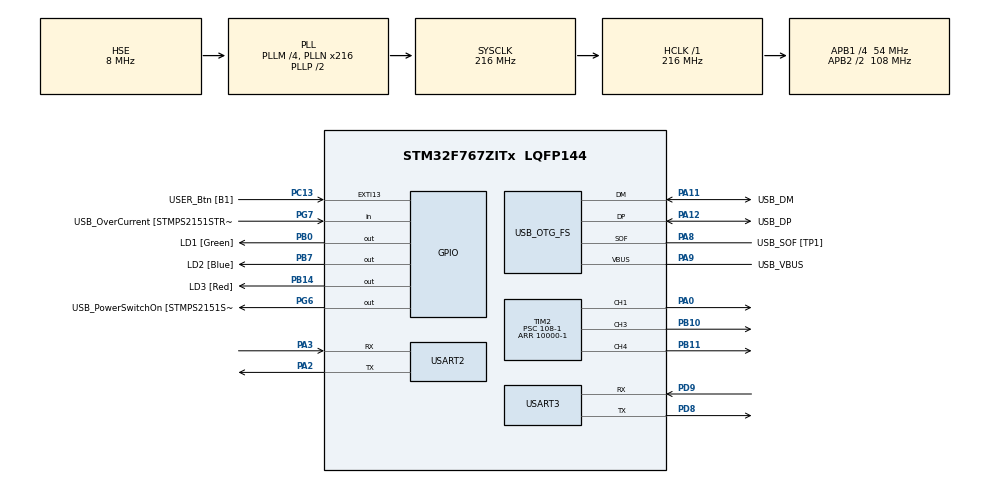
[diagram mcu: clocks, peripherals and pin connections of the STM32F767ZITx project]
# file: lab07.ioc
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Mcu.Family=STM32F7
Mcu.Name=STM32F767ZITx
Mcu.Package=LQFP144
NVIC.PriorityGroup=NVIC_PRIORITYGROUP_2
PA0/WKUP.GPIO_Speed=GPIO_SPEED_FREQ_VERY_HIGH
PA0/WKUP.Signal=S_TIM2_CH1_ETR
PA1.GPIO_Label=RMII_REF_CLK [LAN8742A-CZ-TR_REFCLK0]
PA1.Signal=ETH_REF_CLK
PA10.GPIO_Label=USB_ID
PA10.Signal=USB_OTG_FS_ID
PA11.GPIO_Label=USB_DM
PA11.Mode=Device_Only
PA11.Signal=USB_OTG_FS_DM
PA12.GPIO_Label=USB_DP
PA12.Mode=Device_Only
PA12.Signal=USB_OTG_FS_DP
PA13.GPIO_Label=TMS
PA13.Mode=Serial_Wire
PA13.Signal=SYS_JTMS-SWDIO
PA14.GPIO_Label=TCK
PA14.Mode=Serial_Wire
PA14.Signal=SYS_JTCK-SWCLK
PA2.Mode=Asynchronous
PA2.Signal=USART2_TX
PA3.Mode=Asynchronous
PA3.Signal=USART2_RX
PA7.GPIO_Label=RMII_CRS_DV [LAN8742A-CZ-TR_CRS_DV]
PA7.Signal=ETH_CRS_DV
PA8.GPIO_Label=USB_SOF [TP1]
PA8.Mode=Activate_SOF_FS
PA8.Signal=USB_OTG_FS_SOF
PA9.GPIO_Label=USB_VBUS
PA9.Mode=Activate_VBUS
PA9.Signal=USB_OTG_FS_VBUS
PB0.GPIO_Label=LD1 [Green]
PB0.Signal=GPIO_Output
PB10.GPIO_Speed=GPIO_SPEED_FREQ_VERY_HIGH
PB10.Signal=S_TIM2_CH3
PB11.GPIO_Speed=GPIO_SPEED_FREQ_VERY_HIGH
PB11.Signal=S_TIM2_CH4
PB13.GPIO_Label=RMII_TXD1 [LAN8742A-CZ-TR_TXD1]
PB13.Signal=ETH_TXD1
PB14.GPIO_Label=LD3 [Red]
PB14.Signal=GPIO_Output
PB3.GPIO_Label=SWO
PB3.Signal=SYS_JTDO-SWO
PB7.GPIO_Label=LD2 [Blue]
PB7.Signal=GPIO_Output
PC1.GPIO_Label=RMII_MDC [LAN8742A-CZ-TR_MDC]
PC1.Signal=ETH_MDC
PC13.GPIO_Label=USER_Btn [B1]
PC13.Signal=GPXTI13
PC14/OSC32_IN.Mode=LSE-External-Oscillator
PC14/OSC32_IN.Signal=RCC_OSC32_IN
PC15/OSC32_OUT.Mode=LSE-External-Oscillator
PC15/OSC32_OUT.Signal=RCC_OSC32_OUT
PC4.GPIO_Label=RMII_RXD0 [LAN8742A-CZ-TR_RXD0]
PC4.Signal=ETH_RXD0
PC5.GPIO_Label=RMII_RXD1 [LAN8742A-CZ-TR_RXD1]
PC5.Signal=ETH_RXD1
PD8.Mode=Asynchronous
PD8.Signal=USART3_TX
PD9.Mode=Asynchronous
PD9.Signal=USART3_RX
PG11.GPIO_Label=RMII_TX_EN [LAN8742A-CZ-TR_TXEN]
PG11.Signal=ETH_TX_EN
PG13.GPIO_Label=RMII_TXD0 [LAN8742A-CZ-TR_TXD0]
PG13.Signal=ETH_TXD0
PG6.GPIO_Label=USB_PowerSwitchOn [STMPS2151STR_EN]
PG6.Signal=GPIO_Output
PG7.GPIO_Label=USB_OverCurrent [STMPS2151STR_FAULT]
PG7.Signal=GPIO_Input
PH0/OSC_IN.GPIO_Label=MCO [STM32F103CBT6_PA8]
PH0/OSC_IN.Mode=HSE-External-Clock-Source
PH0/OSC_IN.Signal=RCC_OSC_IN
PH1/OSC_OUT.Mode=HSE-External-Clock-Source
PH1/OSC_OUT.Signal=RCC_OSC_OUT
ProjectManager.HeapSize=0x200
ProjectManager.StackSize=0x400
ProjectManager.TargetToolchain=STM32CubeIDE
RCC.48MHZClocksFreq_Value=24000000
RCC.AHBFreq_Value=216000000
RCC.APB1CLKDivider=RCC_HCLK_DIV4
RCC.APB1Freq_Value=54000000
RCC.APB1TimFreq_Value=108000000
RCC.APB2CLKDivider=RCC_HCLK_DIV2
RCC.APB2Freq_Value=108000000
RCC.APB2TimFreq_Value=216000000
RCC.CortexFreq_Value=216000000
RCC.HCLKFreq_Value=216000000
RCC.HSE_VALUE=8000000
RCC.HSI_VALUE=16000000
RCC.PLLM=4
RCC.PLLMUL=RCC_PLL_MUL9
RCC.PLLN=216
RCC.PLLQ=9
RCC.PRESCALERUSB=RCC_USBCLKSOURCE_PLL_DIV1_5
RCC.SYSCLKFreq_VALUE=216000000
RCC.SYSCLKSource=RCC_SYSCLKSOURCE_PLLCLK
RCC.SYSCLKSourceVirtual=RCC_SYSCLKSOURCE_PLLCLK
RCC.USBFreq_Value=48000000
RCC.VCOOutputFreq_Value=432000000
SH.S_TIM2_CH1_ETR.0=TIM2_CH1,PWM Generation1 CH1
SH.S_TIM2_CH3.0=TIM2_CH3,PWM Generation3 CH3
SH.S_TIM2_CH4.0=TIM2_CH4,PWM Generation4 CH4
TIM2.Channel-PWM\ Generation1\ CH1=TIM_CHANNEL_1
TIM2.Channel-PWM\ Generation3\ CH3=TIM_CHANNEL_3
TIM2.Channel-PWM\ Generation4\ CH4=TIM_CHANNEL_4
TIM2.OCMode_PWM-PWM\ Generation1\ CH1=TIM_OCMODE_PWM1
TIM2.OCMode_PWM-PWM\ Generation3\ CH3=TIM_OCMODE_PWM1
TIM2.OCMode_PWM-PWM\ Generation4\ CH4=TIM_OCMODE_PWM1
TIM2.Period=10000-1
TIM2.Prescaler=108-1
TIM2.Pulse-PWM\ Generation1\ CH1=10000/4-1
TIM2.Pulse-PWM\ Generation3\ CH3=10000/4-1
TIM2.Pulse-PWM\ Generation4\ CH4=10000/4-1
TIM2.TIM_MasterOutputTrigger=TIM_TRGO_UPDATE
USART2.VirtualMode-Asynchronous=VM_ASYNC
USART3.VirtualMode-Asynchronous=VM_ASYNC
USB_OTG_FS.VirtualMode=Device_Only
VP_TIM2_VS_ClockSourceINT.Mode=Internal
board=NUCLEO-F767ZI

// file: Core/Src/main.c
/* USER CODE BEGIN Header */
/**
  ******************************************************************************
  * @file           : main.c
  * @brief          : Main program body
  ******************************************************************************
  * @attention
  *
  * Copyright (c) 2025 STMicroelectronics.
  * All rights reserved.
  *
  * This software is licensed under terms that can be found in the LICENSE file
  * in the root directory of this software component.
  * If no LICENSE file comes with this software, it is provided AS-IS.
  *
  ******************************************************************************
  */
/* USER CODE END Header */
#include "main.h"
#include "tim.h"
#include "usart.h"
#include "usb_otg.h"
#include "gpio.h"

/* USER CODE BEGIN Includes */
#include <stdio.h>
/* USER CODE END Includes */

/* USER CODE BEGIN PV */
uint8_t pwm_green;
uint8_t pwm_blue;
uint8_t pwm_red;
float green = 0.0f;
float blue = 0.0f;
float red = 0.0f;
/* USER CODE END PV */

void SystemClock_Config(void);

/* USER CODE BEGIN 0 */
void sender()
{
	while(__HAL_UART_GET_FLAG(&huart3, UART_FLAG_TC) == RESET){}
	    char message[50];
	    uint8_t len = sprintf(message, "\rR: %.0f%% G: %.0f%% B: %.0f%%          ",
	                          red * 100.0f, green * 100.0f, blue * 100.0f);
	    HAL_UART_Transmit(&huart3, (uint8_t*)message, len, HAL_MAX_DELAY);
}
void recieve()
{
    uint8_t rx;
    if(__HAL_UART_GET_FLAG(&huart3, UART_FLAG_RXNE) == SET)
    {
        HAL_UART_Receive(&huart3, &rx, 1, HAL_MAX_DELAY);

        if(rx == 'r')
        {
            red += 0.2f;
            if(red > 1.0f) red = 0.0f;
        }
        else if(rx == 'g')
        {
            green += 0.2f;
            if(green > 1.0f) green = 0.0f;
        }
        else if(rx == 'b')
        {
            blue += 0.2f;
            if(blue > 1.0f) blue = 0.0f;
        }

        sender();
    }
}
/* USER CODE END 0 */

int main(void)
{

  /* MCU Configuration--------------------------------------------------------*/

  /* Reset of all peripherals, Initializes the Flash interface and the Systick. */
  HAL_Init();

  /* Configure the system clock */
  SystemClock_Config();

  /* Initialize all configured peripherals */
  MX_GPIO_Init();
  MX_USART3_UART_Init();
  MX_USB_OTG_FS_PCD_Init();
  MX_TIM2_Init();
  MX_USART2_UART_Init();
  /* USER CODE BEGIN 2 */
  HAL_TIM_PWM_Start(&htim2, TIM_CHANNEL_1);
  HAL_TIM_PWM_Start(&htim2, TIM_CHANNEL_3);
  HAL_TIM_PWM_Start(&htim2, TIM_CHANNEL_4);
  /* USER CODE END 2 */
  sender();
  /* Infinite loop */
  while (1)
  {

    /* USER CODE BEGIN 3 */
	  recieve();
	  htim2.Instance -> CCR1 = (10000-1) * red;
	  htim2.Instance -> CCR3 = (10000-1) * blue;
	  htim2.Instance -> CCR4 = (10000-1) * green;
	  pwm_red = (GPIOA->IDR & GPIO_PIN_0) >> 0;
	  pwm_blue = (GPIOB->IDR & GPIO_PIN_10) >> 10;
	  pwm_green = (GPIOB->IDR & GPIO_PIN_11) >> 11;
	  HAL_Delay(100);
  }
  /* USER CODE END 3 */
}

void SystemClock_Config(void)
{
  RCC_OscInitTypeDef RCC_OscInitStruct = {0};
  RCC_ClkInitTypeDef RCC_ClkInitStruct = {0};

  /** Configure LSE Drive Capability
  */
  HAL_PWR_EnableBkUpAccess();

  /** Configure the main internal regulator output voltage
  */
  __HAL_RCC_PWR_CLK_ENABLE();
  __HAL_PWR_VOLTAGESCALING_CONFIG(PWR_REGULATOR_VOLTAGE_SCALE1);

  /** Initializes the RCC Oscillators according to the specified parameters
  * in the RCC_OscInitTypeDef structure.
  */
  RCC_OscInitStruct.OscillatorType = RCC_OSCILLATORTYPE_HSE;
  RCC_OscInitStruct.HSEState = RCC_HSE_BYPASS;
  RCC_OscInitStruct.PLL.PLLState = RCC_PLL_ON;
  RCC_OscInitStruct.PLL.PLLSource = RCC_PLLSOURCE_HSE;
  RCC_OscInitStruct.PLL.PLLM = 4;
  RCC_OscInitStruct.PLL.PLLN = 216;
  RCC_OscInitStruct.PLL.PLLP = RCC_PLLP_DIV2;
  RCC_OscInitStruct.PLL.PLLQ = 9;
  RCC_OscInitStruct.PLL.PLLR = 2;
  if (HAL_RCC_OscConfig(&RCC_OscInitStruct) != HAL_OK)
  {
    Error_Handler();
  }

  /** Activate the Over-Drive mode
  */
  if (HAL_PWREx_EnableOverDrive() != HAL_OK)
  {
    Error_Handler();
  }

  /** Initializes the CPU, AHB and APB buses clocks
  */
  RCC_ClkInitStruct.ClockType = RCC_CLOCKTYPE_HCLK|RCC_CLOCKTYPE_SYSCLK
                              |RCC_CLOCKTYPE_PCLK1|RCC_CLOCKTYPE_PCLK2;
  RCC_ClkInitStruct.SYSCLKSource = RCC_SYSCLKSOURCE_PLLCLK;
  RCC_ClkInitStruct.AHBCLKDivider = RCC_SYSCLK_DIV1;
  RCC_ClkInitStruct.APB1CLKDivider = RCC_HCLK_DIV4;
  RCC_ClkInitStruct.APB2CLKDivider = RCC_HCLK_DIV2;

  if (HAL_RCC_ClockConfig(&RCC_ClkInitStruct, FLASH_LATENCY_7) != HAL_OK)
  {
    Error_Handler();
  }
}

void Error_Handler(void)
{
  __disable_irq();
  while (1)
  {
  }
}
